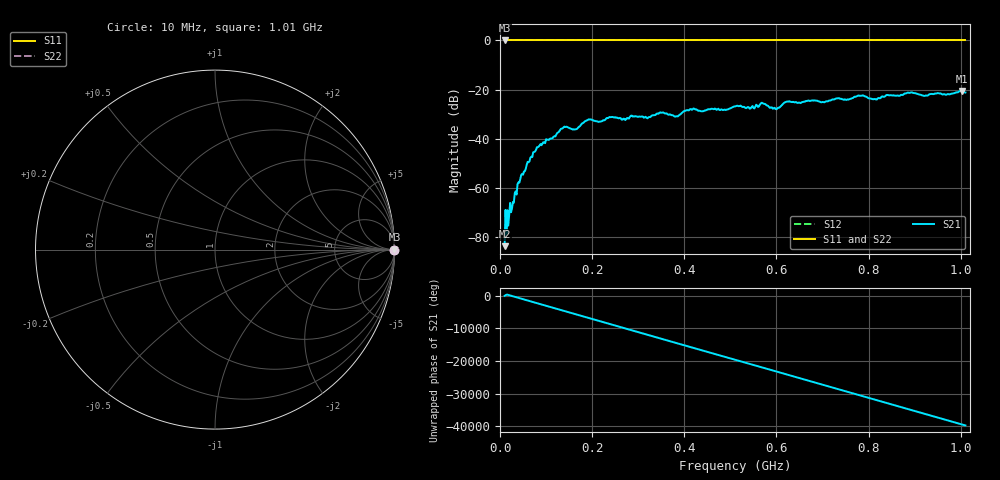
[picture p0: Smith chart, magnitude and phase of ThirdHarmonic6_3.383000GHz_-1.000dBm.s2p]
! 8/17/2025 10:45:43 AM
! C:\ANRITSUVNA\TEMP\TEMP.S2P
! CHANNEL.1
! TR.MEASUREMENT
! RAW.DATA
! RF.CORRECTION.OFF
! AVERAGING.OFF
! IF.BANDWIDTH: 5KHZ
! SWEEPTYPE:  FREQ.SWEEP(Linear)
! Reference Plane Port Info
! PORT:  PORT1  PORT2
! DISTANCE:  0  m  0  m
! TIME:  0  s  0  s
! PHASE.OFFSET:  0  deg.  0  deg.
! LOSS:  0  dB  0  dB
! REF.LOSS:  0  dB  0  dB
! REF.FREQ:  0  Hz  0  Hz
! Power Info
! POWER:  -20  dBm  -20  dBm
! EFF.POWER:  -20  dBm  -20  dBm
! SOURCE.ATTEN:  0  dB  0  dB
! TEST.ATTEN:  0  dB  0  dB
# GHZ S RI R 50.0
! FREQ.GHZ  S11RE  S11IM  S21RE  S21IM  S12RE  S12IM  S22RE  S22IM
!; PortSelection: Port_12
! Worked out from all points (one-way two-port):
!   501 points, 10 MHz to 1.01 GHz, reference 50 ohm
!   highest |S21| = -20.54 dB at 1.002 GHz (marker M1); lowest = -83.7 dB at 10 MHz (marker M2)
!   lowest |S11| = 0.0 dB at 10 MHz (marker M3)
!   |S11| at or under -10 dB: nowhere
!   |S22| runs from 0.0 to 0.0 dB; largest |S21 - S12| = 1.1
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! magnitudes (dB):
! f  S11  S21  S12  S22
! 10 MHz  0.0  -83.7  0.0  0.0
! 42 MHz  0.0  -57.8  0.0  0.0
! 76 MHz  0.0  -45.2  0.0  0.0
! 136 MHz  0.0  -35.8  0.0  0.0
! 162 MHz  0.0  -36.2  0.0  0.0
! 178 MHz  0.0  -33.8  0.0  0.0
! 194 MHz  0.0  -32.2  0.0  0.0
! 322 MHz  0.0  -31.3  0.0  0.0
! 344 MHz  0.0  -29.8  0.0  0.0
! 382 MHz  0.0  -30.9  0.0  0.0
! 416 MHz  0.0  -28.2  0.0  0.0
! 510 MHz  0.0  -26.8  0.0  0.0
! 548 MHz  0.0  -26.7  0.0  0.0
! 570 MHz  0.0  -25.5  0.0  0.0
! 596 MHz  0.0  -27.4  0.0  0.0
! 624 MHz  0.0  -24.8  0.0  0.0
! 678 MHz  0.0  -24.4  0.0  0.0
! 782 MHz  0.0  -22.5  0.0  0.0
! 814 MHz  0.0  -23.8  0.0  0.0
! 844 MHz  0.0  -22.3  0.0  0.0
! 1.002 GHz  0.0  -20.5  0.0  0.0
! 1.01 GHz  0.0  -21.2  0.0  0.0
